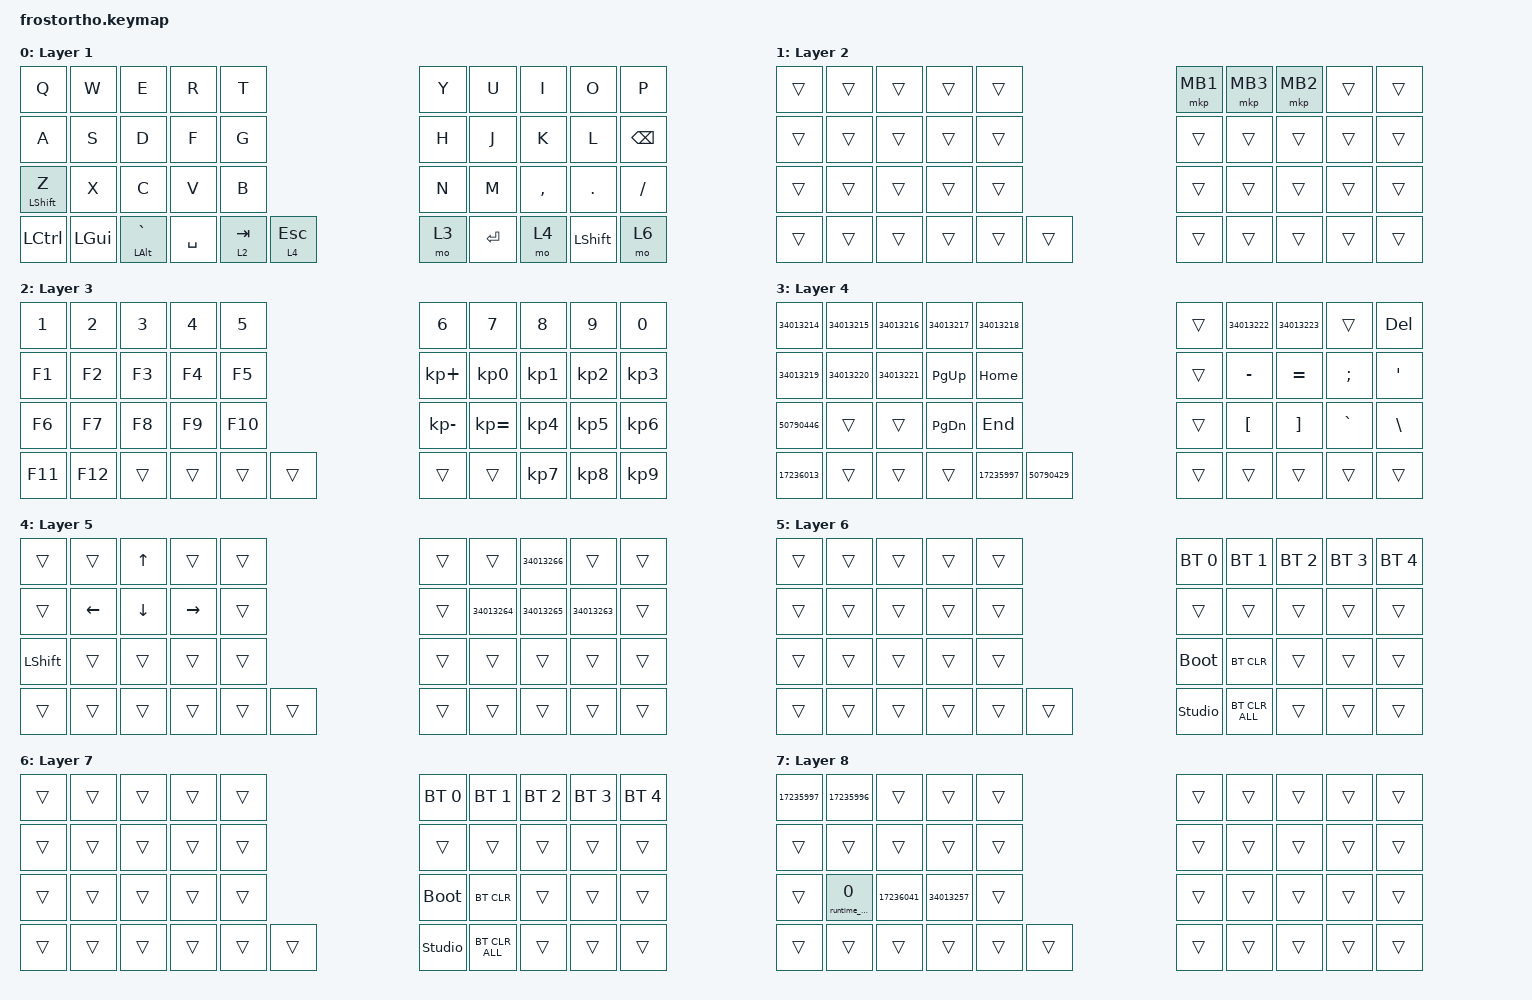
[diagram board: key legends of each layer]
/*
 * Generated by Keyboard Abyss - FrostOrtho — 2026-09-12 v2
 * https://abyss.keyboard-hub.com/keymap/01M2BPYKXT5182FA9DQHKPBSGJ
 */

/ {
    keymap {
        compatible = "zmk,keymap";

        layer_1_layer {
            display-name = "Layer 1";
            bindings = <
                &kp Q    &kp W    &kp E    &kp R    &kp T    &kp Y    &kp U    &kp I    &kp O    &kp P    &kp A
                &kp S    &kp D    &kp F    &kp G    &kp H    &kp J    &kp K    &kp L    &kp BACKSPACE    &mt LEFT_SHIFT Z    &kp X
                &kp C    &kp V    &kp B    &kp N    &kp M    &kp COMMA    &kp PERIOD    &kp SLASH    &kp LEFT_CONTROL    &kp LEFT_GUI    &mt LEFT_ALT GRAVE
                &kp SPACE    &lt 2 TAB    &lt 4 ESCAPE    &mo 3    &kp RETURN    &mo 4    &kp LEFT_SHIFT    &mo 6
            >;
        };

        layer_2_layer {
            display-name = "Layer 2";
            bindings = <
                &trans    &trans    &trans    &trans    &trans    &mkp MB1    &mkp MB3    &mkp MB2    &trans    &trans    &trans
                &trans    &trans    &trans    &trans    &trans    &trans    &trans    &trans    &trans    &trans    &trans
                &trans    &trans    &trans    &trans    &trans    &trans    &trans    &trans    &trans    &trans    &trans
                &trans    &trans    &trans    &trans    &trans    &trans    &trans    &trans
            >;
        };

        layer_3_layer {
            display-name = "Layer 3";
            bindings = <
                &kp N1    &kp N2    &kp N3    &kp N4    &kp N5    &kp N6    &kp N7    &kp N8    &kp N9    &kp N0    &kp F1
                &kp F2    &kp F3    &kp F4    &kp F5    &kp KP_PLUS    &kp KP_N0    &kp KP_N1    &kp KP_N2    &kp KP_N3    &kp F6    &kp F7
                &kp F8    &kp F9    &kp F10    &kp KP_MINUS    &kp KP_EQUAL    &kp KP_N4    &kp KP_N5    &kp KP_N6    &kp F11    &kp F12    &trans
                &trans    &trans    &trans    &trans    &trans    &kp KP_N7    &kp KP_N8    &kp KP_N9
            >;
        };

        layer_4_layer {
            display-name = "Layer 4";
            bindings = <
                &kp 34013214    &kp 34013215    &kp 34013216    &kp 34013217    &kp 34013218    &trans    &kp 34013222    &kp 34013223    &trans    &kp DELETE    &kp 34013219
                &kp 34013220    &kp 34013221    &kp PAGE_UP    &kp HOME    &trans    &kp MINUS    &kp EQUAL    &kp SEMICOLON    &kp SQT    &kp 50790446    &trans
                &trans    &kp PAGE_DOWN    &kp END    &trans    &kp LEFT_BRACKET    &kp RIGHT_BRACKET    &kp GRAVE    &kp BACKSLASH    &kp 17236013    &trans    &trans
                &trans    &kp 17235997    &kp 50790429    &trans    &trans    &trans    &trans    &trans
            >;
        };

        layer_5_layer {
            display-name = "Layer 5";
            bindings = <
                &trans    &trans    &kp UP    &trans    &trans    &trans    &trans    &kp 34013266    &trans    &trans    &trans
                &kp LEFT    &kp DOWN    &kp RIGHT    &trans    &trans    &kp 34013264    &kp 34013265    &kp 34013263    &trans    &kp LEFT_SHIFT    &trans
                &trans    &trans    &trans    &trans    &trans    &trans    &trans    &trans    &trans    &trans    &trans
                &trans    &trans    &trans    &trans    &trans    &trans    &trans    &trans
            >;
        };

        layer_6_layer {
            display-name = "Layer 6";
            bindings = <
                &trans    &trans    &trans    &trans    &trans    &bt BT_SEL 0    &bt BT_SEL 1    &bt BT_SEL 2    &bt BT_SEL 3    &bt BT_SEL 4    &trans
                &trans    &trans    &trans    &trans    &trans    &trans    &trans    &trans    &trans    &trans    &trans
                &trans    &trans    &trans    &bootloader    &bt BT_CLR    &trans    &trans    &trans    &trans    &trans    &trans
                &trans    &trans    &trans    &studio_unlock    &bt BT_CLR_ALL    &trans    &trans    &trans
            >;
        };

        layer_7_layer {
            display-name = "Layer 7";
            bindings = <
                &trans    &trans    &trans    &trans    &trans    &bt BT_SEL 0    &bt BT_SEL 1    &bt BT_SEL 2    &bt BT_SEL 3    &bt BT_SEL 4    &trans
                &trans    &trans    &trans    &trans    &trans    &trans    &trans    &trans    &trans    &trans    &trans
                &trans    &trans    &trans    &bootloader    &bt BT_CLR    &trans    &trans    &trans    &trans    &trans    &trans
                &trans    &trans    &trans    &studio_unlock    &bt BT_CLR_ALL    &trans    &trans    &trans
            >;
        };

        layer_8_layer {
            display-name = "Layer 8";
            bindings = <
                &kp 17235997    &kp 17235996    &trans    &trans    &trans    &trans    &trans    &trans    &trans    &trans    &trans
                &trans    &trans    &trans    &trans    &trans    &trans    &trans    &trans    &trans    &trans    &runtime_macro 0
                &kp 17236041    &kp 34013257    &trans    &trans    &trans    &trans    &trans    &trans    &trans    &trans    &trans
                &trans    &trans    &trans    &trans    &trans    &trans    &trans    &trans
            >;
        };
    };
};
